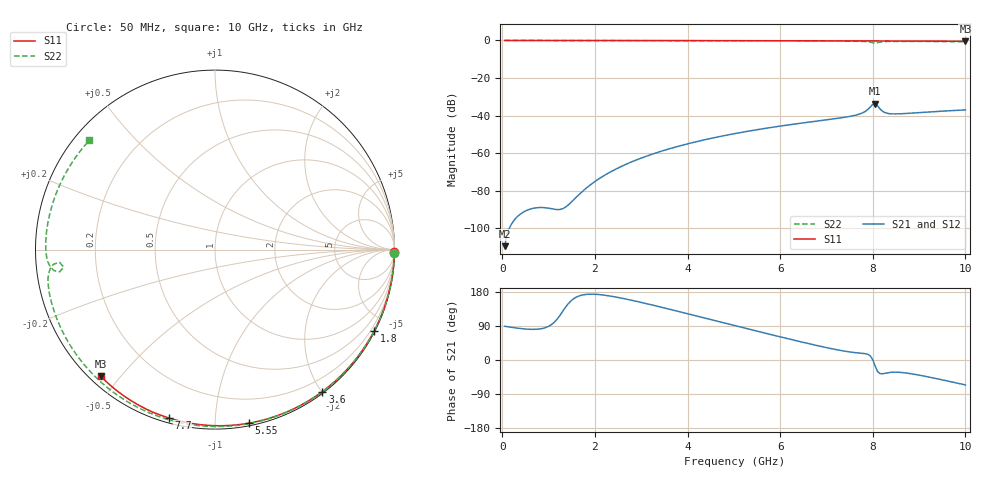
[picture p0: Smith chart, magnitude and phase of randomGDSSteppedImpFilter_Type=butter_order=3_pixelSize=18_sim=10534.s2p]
! freq	dB(S11)	phase(S11)	dB(S12)	phase(S12)
!  dB(S21)	phase(S21)	dB(S22)	phase(S22)
!S-par simulation data
#  GHz  S  DB  R 50
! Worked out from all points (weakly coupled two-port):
!   200 points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, 50 MHz to 10 GHz, reference 50 ohm
!   highest |S21| = -33.61 dB at 8.05 GHz (marker M1); lowest = -109.6 dB at 50 MHz (marker M2)
!   lowest |S11| = -0.4 dB at 10 GHz (marker M3), VSWR 39.21, Z = 1.53 - j22.2 ohm
!   |S11| at or under -10 dB: nowhere
!   |S22| runs from -1.4 to 0.0 dB; largest |S21 - S12| = 0
!   S11 on the Smith chart (normalised r, x): 50 MHz: open; 1.8 GHz: 0.04, -4.16; 3.6 GHz: 0.02, -2.01; 5.55 GHz: 0.02, -1.21; 7.7 GHz: 0.02, -0.76; 10 GHz: 0.03, -0.44
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0.05  -0.00 -0.8  -109.63 89.0  -109.63 89.0  -0.00 -1.2
0.85  -0.02 -12.9  -89.02 82.7  -89.02 82.7  -0.02 -20.1
1.75  -0.03 -26.3  -80.02 172.0  -80.02 172.0  -0.05 -41.0
1.8  -0.03 -27.0  -78.96 172.9  -78.96 172.9  -0.05 -42.1
2.1  -0.04 -31.4  -73.51 172.5  -73.51 172.5  -0.06 -48.9
2.45  -0.05 -36.5  -68.59 166.2  -68.59 166.2  -0.07 -56.7
2.9  -0.06 -43.0  -63.63 154.8  -63.63 154.8  -0.09 -66.7
3.4  -0.07 -50.1  -59.28 140.4  -59.28 140.4  -0.10 -77.5
3.6  -0.07 -52.9  -57.78 134.4  -57.78 134.4  -0.11 -81.7
4.3  -0.09 -62.5  -53.31 113.0  -53.31 113.0  -0.14 -96.4
5.05  -0.11 -72.5  -49.50 89.9  -49.50 89.9  -0.17 -111.9
5.55  -0.13 -79.0  -47.36 74.7  -47.36 74.7  -0.20 -122.0
6.7  -0.18 -93.4  -43.26 40.8  -43.26 40.8  -0.29 -145.6
7.7  -0.24 -105.4  -39.31 18.4  -39.31 18.4  -0.44 -167.8
7.85  -0.25 -107.2  -37.60 16.5  -37.60 16.5  -0.57 -171.9
7.95  -0.26 -108.4  -35.38 10.4  -35.38 10.4  -0.89 -174.9
8.05  -0.26 -109.5  -33.61 -15.5  -33.61 -15.5  -1.43 -173.4
8.1  -0.26 -110.1  -34.71 -29.7  -34.71 -29.7  -1.17 -171.9
8.2  -0.27 -111.3  -37.52 -36.4  -37.52 -36.4  -0.69 -174.1
8.35  -0.28 -113.1  -38.98 -33.1  -38.98 -33.1  -0.53 -178.6
9.15  -0.36 -122.3  -38.22 -43.4  -38.22 -43.4  -0.55 161.2
10  -0.44 -132.0  -37.00 -65.9  -37.00 -65.9  -0.65 138.9
